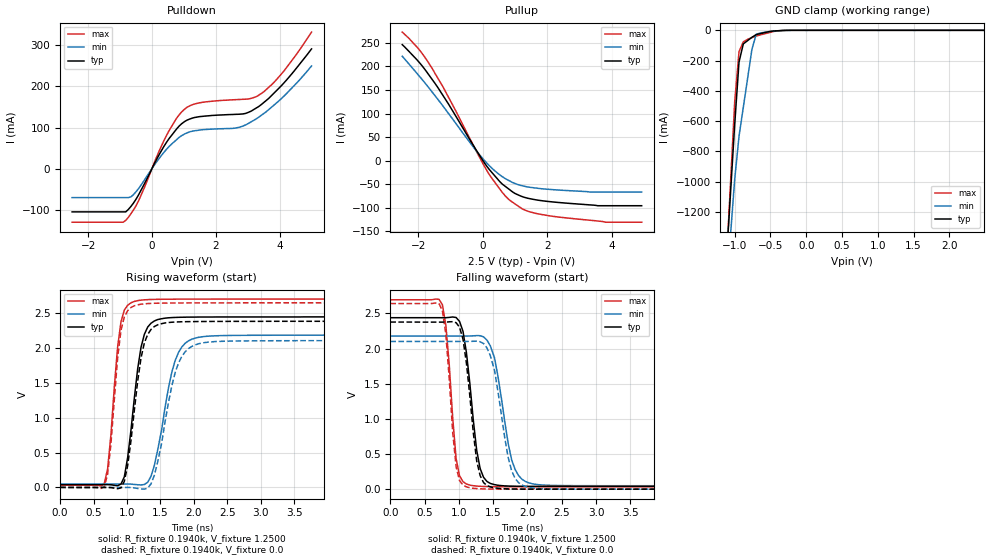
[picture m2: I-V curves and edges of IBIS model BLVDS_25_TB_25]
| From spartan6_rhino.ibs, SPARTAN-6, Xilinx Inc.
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|   Model BLVDS_25_TB_25
[Model]  BLVDS_25_TB_25
Model_type I/O
Polarity   Non-Inverting
Enable   Active-Low
Vinl =   1.0250V
Vinh =   1.3750V
Vmeas =  0.9000V
Cref =   0.0F
Rref =   1.0000M
Vref =   0.0V
C_comp   5.71pF   5.63pF   6.21pF
|C_comp  6.33pF   6.15pF   6.69pF
[Temperature Range]   25.0000   85.0000   0.0
[Voltage Range]   2.5000V   2.3000V   2.7000V
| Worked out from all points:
|   slope of the pulldown table from 0 to 0.375 V, typ, clamps not added: 6.95 ohm
|   slope of the pullup table from 0 to 0.375 V, typ, clamps not added: 11.3 ohm
|   GND clamp passes 1 mA (typ) near -0.34 V on its own axis
|   rising waveform, R_fixture 0.1940k, V_fixture 1.2500: 20-80 % time 181ps typ, 256ps min, 141ps max; typ from 0.039 V to 2.44 V
|   rising waveform, R_fixture 0.1940k, V_fixture 0.0: 20-80 % time 189ps typ, 263ps min, 144ps max; typ from 0.002 V to 2.38 V
|   falling waveform, R_fixture 0.1940k, V_fixture 1.2500: 20-80 % time 159ps typ, 215ps min, 123ps max; typ from 2.44 V to 0.039 V
|   falling waveform, R_fixture 0.1940k, V_fixture 0.0: 20-80 % time 157ps typ, 206ps min, 121ps max; typ from 2.38 V to 0 V
[Pulldown]
|Voltage   I(typ)   I(min)   I(max)
-2.5V     -105.1mA   -70.42mA   -130.2mA
-820mV    -105.1mA   -70.42mA   -125.6mA
-660mV    -92.06mA   -68.63mA   -109.9mA
-420mV    -63.98mA   -48.6mA    -78.57mA
460mV     64.37mA    47.17mA    81.02mA
940mV     109.7mA    80.61mA    138.7mA
1.5V      126.5mA    93.8mA     160.2mA
2.7V      132.2mA    99.91mA    168mA
3.34V     150.7mA    124.8mA    178.3mA
3.74V     177.1mA    148.9mA    203.3mA
4.14V     208.8mA    176.6mA    237.8mA
5V        291.1mA    249.5mA    332mA
[Pullup]
|Voltage   I(typ)   I(min)   I(max)
-2.5V     246.4mA    221.7mA    273.1mA
-1.96V    207.6mA    178.5mA    234.5mA
-1.64V    178.8mA    151.6mA    203.1mA
-1.24V    138.6mA    116.1mA    156.9mA
-280mV    30.35mA    27.43mA    30.14mA
120mV     -12.06mA   -5.287mA   -20.91mA
520mV     -44.55mA   -30.25mA   -60.19mA
840mV     -62.51mA   -43.73mA   -84.86mA
1.32V     -78.84mA   -55.17mA   -105.7mA
1.96V     -86.47mA   -60.75mA   -116.3mA
3.8V      -96mA      -67mA      -131mA
4.92V     -96mA      -67mA      -131mA
[GND_clamp]
|Voltage   I(typ)   I(min)   I(max)
-2.5V     -12.34A    -10.45A    -14.37A
-1.12V    -1.552A    -1.737A    -1.574A
-1.06V    -1.086A    -1.36A     -1.022A
-1V       -620.6mA   -984.2mA   -471.2mA
-940mV    -209.7mA   -700.3mA   -141.1mA
-880mV    -89.81mA   -509.1mA   -76.13mA
-760mV    -46.16mA   -126.7mA   -48.28mA
-700mV    -28.14mA   -25.92mA   -38mA
-460mV    -4.532mA   -4.927mA   -8.203mA
-280mV    -105uA     -759.6uA   -351.5uA
2.48V     28.3nA     245.9nA    29.66nA
[POWER_clamp]
|Voltage   I(typ)   I(min)   I(max)
-2.49V    0A         0A         0A
-2.46V    0A         0A         0A
-2.43V    0A         0A         0A
0V        0A         0A         0A
[Ramp]
| variable   typ   min   max
dV/dt_r  1.4262/0.1837n   1.2606/0.2602n   1.5846/0.1351n
dV/dt_f  1.4522/0.1571n   1.2920/0.2192n   1.6080/0.1202n
R_load = 0.1940k
[Rising Waveform]
R_fixture= 0.1940k
V_fixture= 1.2500
V_fixture_min= 1.1500
V_fixture_max= 1.3500
|time   V(typ)   V(min)   V(max)
0s        39.4mV     48.8mV     34.01mV
660ps     39.39mV    48.79mV    54.28mV
710ps     39.92mV    48.79mV    265.8mV
910ps     48.53mV    48.75mV    2.369V
1.06ns    823.8mV    47.5mV     2.642V
1.21ns    2.005V     36.19mV    2.68V
1.31ns    2.295V     74.15mV    2.687V
1.72ns    2.432V     1.814V     2.693V
1.92ns    2.436V     2.097V     2.694V
5ns       2.44V      2.179V     2.695V
[Rising Waveform]
R_fixture= 0.1940k
V_fixture= 0.0
|time   V(typ)   V(min)   V(max)
0s        2.378mV    0V         0V
660ps     -3.222uV   -7.171uV   12.14mV
760ps     -1.771mV   -6.016uV   622.4mV
910ps     -6.021mV   -47.28uV   2.248V
1.06ns    673.4mV    -1.548mV   2.575V
1.21ns    1.853V     -21.66mV   2.622V
1.31ns    2.189V     -8.044mV   2.631V
1.72ns    2.367V     1.642V     2.639V
1.97ns    2.373V     2.018V     2.64V
5ns       2.377V     2.101V     2.641V
[Falling Waveform]
R_fixture= 0.1940k
V_fixture= 1.2500
V_fixture_min= 1.1500
V_fixture_max= 1.3500
|time   V(typ)   V(min)   V(max)
0s        2.44V      2.179V     2.695V
760ps     2.439V     2.179V     2.625V
810ps     2.44V      2.179V     2.335V
960ps     2.443V     2.179V     435.7mV
1.11ns    1.945V     2.179V     73.54mV
1.26ns    553mV      2.185V     44.12mV
1.46ns    81.07mV    2.037V     36.15mV
1.77ns    43.28mV    417.3mV    34.29mV
1.97ns    40.59mV    109.8mV    34.13mV
5ns       39.42mV    48.84mV    34.04mV
[Falling Waveform]
R_fixture= 0.1940k
V_fixture= 0.0
|time   V(typ)   V(min)   V(max)
0s        2.378V     2.102V     2.641V
760ps     2.377V     2.102V     2.54V
960ps     2.369V     2.102V     319.6mV
1.06ns    2.136V     2.102V     57.84mV
1.26ns    403.6mV    2.105V     8.288mV
1.41ns    51.58mV    2.01V      2.519mV
1.52ns    19.01mV    1.691V     1.174mV
1.72ns    3.995mV    446.7mV    288uV
1.92ns    1.145mV    58.76mV    99.63uV
5ns       18.68uV    23.67uV    21.86uV
